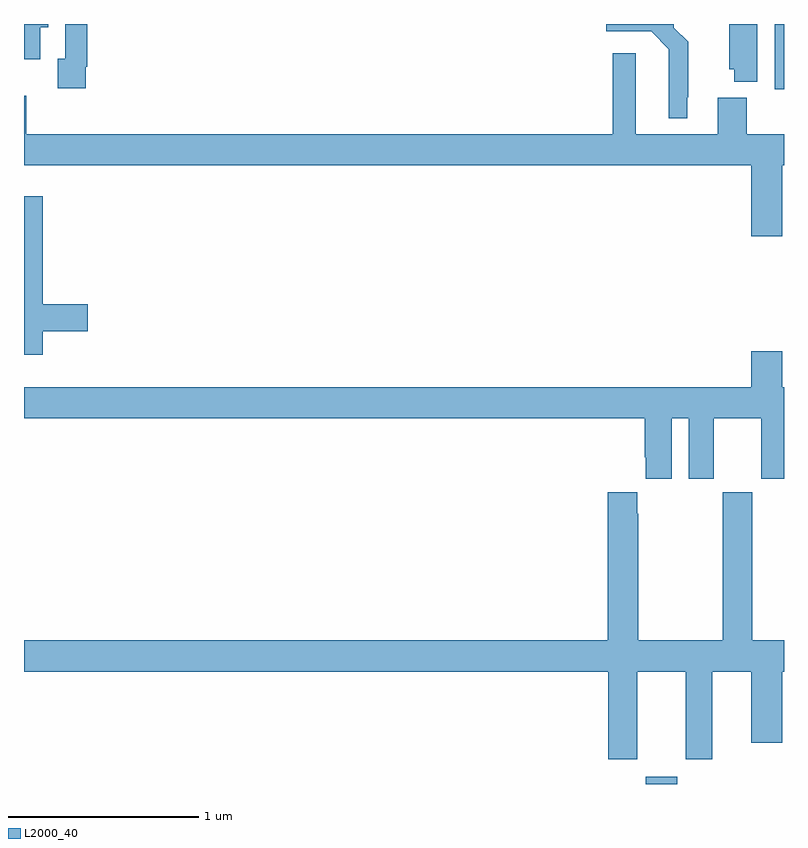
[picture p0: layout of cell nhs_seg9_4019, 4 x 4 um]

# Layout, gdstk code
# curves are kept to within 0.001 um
import gdstk
lib = gdstk.Library(unit=1e-6, precision=1e-09)
def R(c, l, rs):  # rectangles x0, y0, x1, y1
    for r in rs: c.add(gdstk.rectangle(r[:2], r[2:], *l))
def P(c, l, *ps):  # polygons
    for p in ps: c.add(gdstk.Polygon(p, *l))
L2000_40 = (2000, 40)

nhs_seg9_4019 = lib.new_cell('nhs_seg9_4019')
R(nhs_seg9_4019, L2000_40, [(344.273,1190.5,344.437,1190.539), (344.951,1194.156,345,1194.5)])
P(nhs_seg9_4019, L2000_40, [(344.86,1194.5),(344.711,1194.5),(344.711,1194.261),(344.738,1194.261),(344.738,1194.197),(344.86,1194.197)],
  [(341.326,1194.274),(341.333,1194.274),(341.333,1194.5),(341.217,1194.5),(341.217,1194.318),(341.177,1194.318),(341.177,1194.162),(341.326,1194.162)],
  [(341.086,1194.482),(341.128,1194.482),(341.128,1194.5),(341,1194.5),(341,1194.314),(341.086,1194.314)],
  [(344.491,1194.115),(344.495,1194.115),(344.495,1194.406),(344.421,1194.48),(344.421,1194.5),(344.064,1194.5),(344.064,1194.461),(344.301,1194.461),(344.394,1194.368),(344.393,1194.005),(344.491,1194.005)],
  [(344.992,1193.756),(345,1193.756),(345,1193.92),(344.804,1193.92),(344.804,1194.112),(344.651,1194.112),(344.651,1193.92),(344.221,1193.92),(344.221,1194.346),(344.099,1194.346),(344.099,1193.92),(341.012,1193.92),(341.012,1194.122),(341,1194.122),(341,1193.756),(344.828,1193.756),(344.828,1193.382),(344.992,1193.382)],
  [(341.099,1192.882),(341.335,1192.882),(341.335,1193.024),(341.099,1193.024),(341.099,1193.593),(341,1193.593),(341,1192.758),(341.099,1192.758)],
  [(344.828,1192.777),(344.828,1192.588),(341,1192.588),(341,1192.424),(344.267,1192.424),(344.267,1192.219),(344.273,1192.219),(344.273,1192.107),(344.41,1192.107),(344.41,1192.424),(344.498,1192.424),(344.498,1192.107),(344.629,1192.107),(344.629,1192.424),(344.879,1192.424),(344.879,1192.107),(345,1192.107),(345,1192.588),(344.992,1192.588),(344.992,1192.777)],
  [(344.227,1191.092),(344.483,1191.092),(344.483,1190.631),(344.623,1190.631),(344.623,1191.092),(344.828,1191.092),(344.828,1190.718),(344.992,1190.718),(344.992,1191.092),(345,1191.092),(345,1191.256),(344.832,1191.256),(344.832,1192.036),(344.677,1192.036),(344.677,1191.256),(344.232,1191.256),(344.232,1191.923),(344.227,1191.923),(344.227,1192.036),(344.072,1192.036),(344.072,1191.256),(341,1191.256),(341,1191.092),(344.075,1191.092),(344.075,1190.631),(344.227,1190.631)])

lib.write_gds('nhs_seg9_4019.gds')
